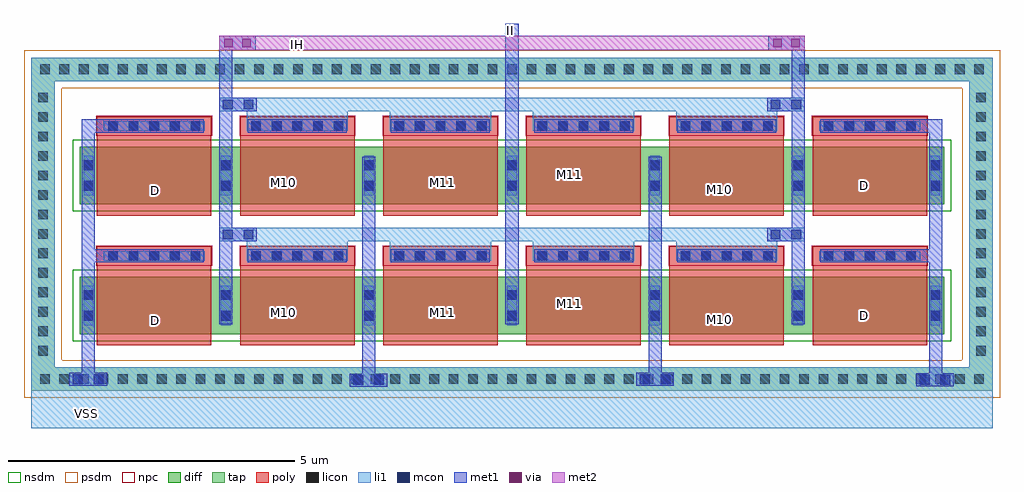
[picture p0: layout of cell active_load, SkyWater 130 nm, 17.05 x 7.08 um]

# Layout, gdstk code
from math import pi, radians
import gdstk
lib = gdstk.Library(unit=1e-6, precision=1e-09)
def R(c, l, rs):  # rectangles x0, y0, x1, y1
    for r in rs: c.add(gdstk.rectangle(r[:2], r[2:], *l))
def A(c, l, x, y, w, h, nx, ny, dx, dy):  # array of equal rectangles
    R(c, l, [(x+i*dx, y+j*dy, x+i*dx+w, y+j*dy+h) for i in range(nx) for j in range(ny)])
diff = (65, 20)
tap = (65, 44)
poly = (66, 20)
licon = (66, 44)
li1 = (67, 20)
mcon = (67, 44)
met1 = (68, 20)
via = (68, 44)
met2 = (69, 20)
nsdm = (93, 44)
psdm = (94, 20)
npc = (95, 20)

nfet_3 = lib.new_cell('nfet$3')
R(nfet_3, diff, [(0,0,15.1,1)])
A(nfet_3, poly, 0.3, -0.2, 2, 1.4, 6, 1, 2.5, 0)
A(nfet_3, poly, 0.3, 1.2, 2, 0.33, 6, 1, 2.5, 0)
A(nfet_3, licon, 2.465, 0.235, 0.17, 0.17, 5, 2, 2.5, 0.36)
A(nfet_3, licon, 0.495, 1.28, 0.17, 0.17, 5, 1, 0.36, 0)
A(nfet_3, licon, 2.995, 1.28, 0.17, 0.17, 5, 1, 0.36, 0)
A(nfet_3, licon, 5.495, 1.28, 0.17, 0.17, 5, 1, 0.36, 0)
A(nfet_3, licon, 7.995, 1.28, 0.17, 0.17, 5, 1, 0.36, 0)
A(nfet_3, licon, 10.495, 1.28, 0.17, 0.17, 5, 1, 0.36, 0)
A(nfet_3, licon, 12.995, 1.28, 0.17, 0.17, 5, 1, 0.36, 0)
R(nfet_3, licon, [(0.065,0.235,0.235,0.405), (14.865,0.235,15.035,0.405), (0.065,0.595,0.235,0.765), (14.865,0.595,15.035,0.765)])
A(nfet_3, li1, 2.465, 0.155, 0.17, 0.69, 5, 1, 2.5, 0)
A(nfet_3, li1, 0.415, 1.28, 1.77, 0.17, 6, 1, 2.5, 0)
R(nfet_3, li1, [(0.065,0.155,0.235,0.845), (14.865,0.155,15.035,0.845)])
A(nfet_3, mcon, 2.465, 0.235, 0.17, 0.17, 5, 2, 2.5, 0.36)
A(nfet_3, mcon, 0.495, 1.28, 0.17, 0.17, 5, 1, 0.36, 0)
A(nfet_3, mcon, 2.995, 1.28, 0.17, 0.17, 5, 1, 0.36, 0)
A(nfet_3, mcon, 5.495, 1.28, 0.17, 0.17, 5, 1, 0.36, 0)
A(nfet_3, mcon, 7.995, 1.28, 0.17, 0.17, 5, 1, 0.36, 0)
A(nfet_3, mcon, 10.495, 1.28, 0.17, 0.17, 5, 1, 0.36, 0)
A(nfet_3, mcon, 12.995, 1.28, 0.17, 0.17, 5, 1, 0.36, 0)
R(nfet_3, mcon, [(0.065,0.235,0.235,0.405), (14.865,0.235,15.035,0.405), (0.065,0.595,0.235,0.765), (14.865,0.595,15.035,0.765)])
A(nfet_3, met1, 2.435, 0.175, 0.23, 0.65, 5, 1, 2.5, 0)
A(nfet_3, met1, 0.435, 1.25, 1.73, 0.23, 6, 1, 2.5, 0)
R(nfet_3, met1, [(0.035,0.175,0.265,0.825), (14.835,0.175,15.065,0.825)])
R(nfet_3, nsdm, [(-0.125,-0.125,15.225,1.125)])
A(nfet_3, npc, 0.29, 1.19, 2.02, 0.35, 6, 1, 2.5, 0)

vias_gen_1 = lib.new_cell('vias_gen$1')
R(vias_gen_1, li1, [(0,0,0.66,0.23)])
R(vias_gen_1, mcon, [(0.065,0.03,0.235,0.2), (0.425,0.03,0.595,0.2)])
R(vias_gen_1, met1, [(0,0,0.66,0.23)])

vias_gen_17 = lib.new_cell('vias_gen$17')
R(vias_gen_17, tap, [(0,0,0.41,16.8)])
A(vias_gen_17, licon, 0.12, 0.155, 0.17, 0.17, 1, 49, 0, 0.34)
R(vias_gen_17, li1, [(0,0,0.41,16.8)])
R(vias_gen_17, psdm, [(-0.125,-0.125,0.535,16.925)])

vias_gen_13 = lib.new_cell('vias_gen$13')
R(vias_gen_13, tap, [(0,0,0.41,5)])
A(vias_gen_13, licon, 0.12, 0.205, 0.17, 0.17, 1, 14, 0, 0.34)
R(vias_gen_13, li1, [(0,0,0.41,5)])
R(vias_gen_13, psdm, [(-0.125,-0.125,0.535,5.125)])

vias_gen_2 = lib.new_cell('vias_gen$2')
R(vias_gen_2, met1, [(0,0,0.64,0.26)])
R(vias_gen_2, via, [(0.085,0.055,0.235,0.205), (0.405,0.055,0.555,0.205)])
R(vias_gen_2, met2, [(0,0,0.64,0.26)])

active_load = lib.new_cell('active_load')
A(active_load, li1, 2.015, -0.975, 1.77, 0.405, 4, 2, 2.5, 2.27)
R(active_load, li1, [(-1.75,-4.075,15.05,-3.005), (2.195,-0.8,11.735,-0.57), (2.195,1.47,11.735,1.7)])
R(active_load, met1, [(13.935,-3.25,14.165,-0.945), (-0.865,-3.23,-0.635,1.325), (4.035,-3.23,4.265,-2.25), (9.035,-3.22,9.265,0.02), (4.035,-2.76,4.265,0.02), (9.035,-2.725,9.265,-2.25), (13.935,-2.25,14.165,1.325), (1.535,-1.6,1.765,2.53), (6.535,-1.6,6.765,0.845), (11.535,-1.6,11.765,2.53), (-0.865,-1.175,-0.465,-0.945), (13.765,-1.175,14.165,-0.945), (-0.865,0.67,-0.635,1.325), (1.535,0.67,1.765,1.7), (6.535,0.67,6.765,3), (11.535,0.67,11.765,1.7), (-0.865,1.095,-0.465,1.325), (13.765,1.095,14.165,1.325)])
R(active_load, met2, [(2.175,2.53,11.765,2.79)])
active_load.add(gdstk.Reference(nfet_3, (-0.9,-0.155)))
active_load.add(gdstk.Reference(vias_gen_1, (1.535,1.47)))
active_load.add(gdstk.Reference(vias_gen_1, (11.105,1.47)))
active_load.add(gdstk.Reference(nfet_3, (-0.9,-2.425)))
active_load.add(gdstk.Reference(vias_gen_1, (1.535,-0.8)))
active_load.add(gdstk.Reference(vias_gen_1, (11.105,-0.8)))
active_load.add(gdstk.Reference(vias_gen_17, (-1.75,-3.005), rotation=3*pi/2))
active_load.add(gdstk.Reference(vias_gen_13, (-1.75,-3.005)))
active_load.add(gdstk.Reference(vias_gen_13, (14.64,-3.005)))
active_load.add(gdstk.Reference(vias_gen_17, (-1.75,2.405), rotation=3*pi/2))
active_load.add(gdstk.Reference(vias_gen_1, (-1.085,-3.33)))
active_load.add(gdstk.Reference(vias_gen_1, (3.815,-3.345)))
active_load.add(gdstk.Reference(vias_gen_1, (8.82,-3.33)))
active_load.add(gdstk.Reference(vias_gen_1, (13.71,-3.34)))
active_load.add(gdstk.Reference(vias_gen_2, (1.535,2.53)))
active_load.add(gdstk.Reference(vias_gen_2, (11.125,2.53)))
active_load.add(gdstk.Label('D', (0.43,0.09), layer=68, texttype=5))
active_load.add(gdstk.Label('D', (12.805,0.17), layer=68, texttype=5))
active_load.add(gdstk.Label('M10', (2.65,0.23), layer=68, texttype=5))
active_load.add(gdstk.Label('M10', (10.28,0.1), layer=68, texttype=5))
active_load.add(gdstk.Label('M11', (5.43,0.23), layer=68, texttype=5))
active_load.add(gdstk.Label('M11', (7.65,0.37), layer=68, texttype=5))
active_load.add(gdstk.Label('D', (0.43,-2.18), layer=68, texttype=5))
active_load.add(gdstk.Label('D', (12.805,-2.1), layer=68, texttype=5))
active_load.add(gdstk.Label('M10', (2.65,-2.04), layer=68, texttype=5))
active_load.add(gdstk.Label('M10', (10.28,-2.17), layer=68, texttype=5))
active_load.add(gdstk.Label('M11', (5.43,-2.04), layer=68, texttype=5))
active_load.add(gdstk.Label('M11', (7.65,-1.9), layer=68, texttype=5))
active_load.add(gdstk.Label('VSS', (-0.79,-3.815), layer=67, texttype=16))
active_load.add(gdstk.Label('IH', (2.905,2.625), layer=69, texttype=16))
active_load.add(gdstk.Label('II', (6.625,2.88), layer=68, texttype=16))

lib.write_gds('active_load.gds')
